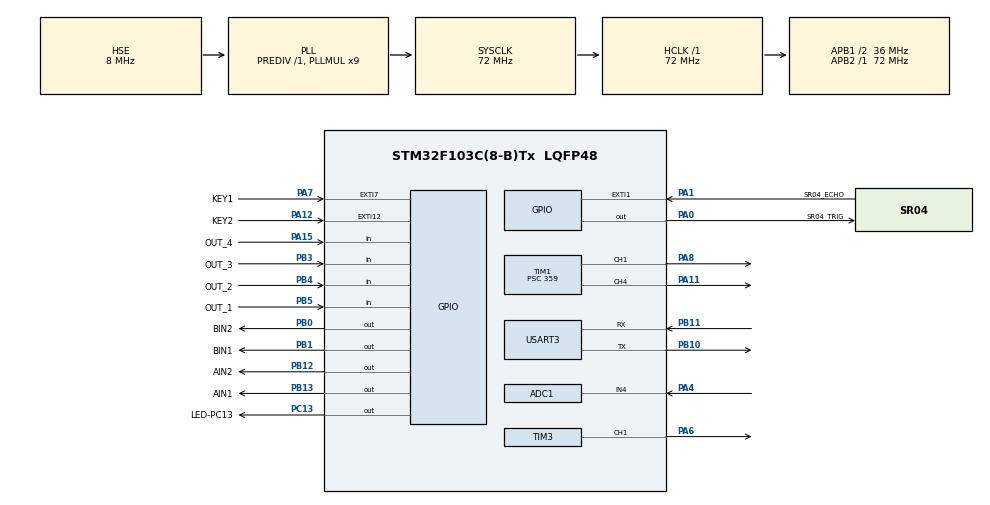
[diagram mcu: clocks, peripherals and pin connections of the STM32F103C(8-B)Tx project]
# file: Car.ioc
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ADC1.Channel-0\#ChannelRegularConversion=ADC_CHANNEL_4
ADC1.ContinuousConvMode=ENABLE
ADC1.NbrOfConversionFlag=1
ADC1.Rank-0\#ChannelRegularConversion=1
ADC1.SamplingTime-0\#ChannelRegularConversion=ADC_SAMPLETIME_239CYCLES_5
ADC1.master=1
Mcu.Family=STM32F1
Mcu.Name=STM32F103C(8-B)Tx
Mcu.Package=LQFP48
NVIC.EXTI15_10_IRQn=true\:0\:0\:false\:false\:true\:true\:true\:true
NVIC.EXTI1_IRQn=true\:0\:0\:false\:false\:true\:true\:true\:true
NVIC.EXTI9_5_IRQn=true\:0\:0\:false\:false\:true\:true\:true\:true
NVIC.PriorityGroup=NVIC_PRIORITYGROUP_4
NVIC.USART3_IRQn=true\:0\:0\:false\:false\:true\:true\:true\:true
PA0-WKUP.GPIO_Label=SR04_TRIG
PA0-WKUP.Signal=GPIO_Output
PA1.GPIO_Label=SR04_ECHO
PA1.GPIO_ModeDefaultEXTI=GPIO_MODE_IT_RISING_FALLING
PA1.Signal=GPXTI1
PA11.Signal=S_TIM1_CH4
PA12.GPIO_Label=KEY2
PA12.GPIO_ModeDefaultEXTI=GPIO_MODE_IT_FALLING
PA12.GPIO_PuPd=GPIO_PULLUP
PA12.Signal=GPXTI12
PA13.Mode=Serial_Wire
PA13.Signal=SYS_JTMS-SWDIO
PA14.Mode=Serial_Wire
PA14.Signal=SYS_JTCK-SWCLK
PA15.GPIO_Label=OUT_4
PA15.GPIO_PuPd=GPIO_PULLDOWN
PA15.Signal=GPIO_Input
PA4.Signal=ADCx_IN4
PA6.Signal=S_TIM3_CH1
PA7.GPIO_Label=KEY1
PA7.GPIO_ModeDefaultEXTI=GPIO_MODE_IT_RISING
PA7.GPIO_PuPd=GPIO_PULLDOWN
PA7.Signal=GPXTI7
PA8.Signal=S_TIM1_CH1
PB0.GPIO_Label=BIN2
PB0.GPIO_Speed=GPIO_SPEED_FREQ_HIGH
PB0.PinState=GPIO_PIN_SET
PB0.Signal=GPIO_Output
PB1.GPIO_Label=BIN1
PB1.GPIO_Speed=GPIO_SPEED_FREQ_HIGH
PB1.PinState=GPIO_PIN_SET
PB1.Signal=GPIO_Output
PB10.Mode=Asynchronous
PB10.Signal=USART3_TX
PB11.Mode=Asynchronous
PB11.Signal=USART3_RX
PB12.GPIO_Label=AIN2
PB12.GPIO_Speed=GPIO_SPEED_FREQ_HIGH
PB12.PinState=GPIO_PIN_SET
PB12.Signal=GPIO_Output
PB13.GPIO_Label=AIN1
PB13.GPIO_Speed=GPIO_SPEED_FREQ_HIGH
PB13.PinState=GPIO_PIN_SET
PB13.Signal=GPIO_Output
PB3.GPIO_Label=OUT_3
PB3.GPIO_PuPd=GPIO_PULLDOWN
PB3.Signal=GPIO_Input
PB4.GPIO_Label=OUT_2
PB4.GPIO_PuPd=GPIO_PULLDOWN
PB4.Signal=GPIO_Input
PB5.GPIO_Label=OUT_1
PB5.GPIO_PuPd=GPIO_PULLDOWN
PB5.Signal=GPIO_Input
PC13-TAMPER-RTC.GPIO_Label=LED-PC13
PC13-TAMPER-RTC.PinState=GPIO_PIN_SET
PC13-TAMPER-RTC.Signal=GPIO_Output
PD0-OSC_IN.Mode=HSE-External-Oscillator
PD0-OSC_IN.Signal=RCC_OSC_IN
PD1-OSC_OUT.Mode=HSE-External-Oscillator
PD1-OSC_OUT.Signal=RCC_OSC_OUT
ProjectManager.HeapSize=0x200
ProjectManager.StackSize=0x400
ProjectManager.TargetToolchain=Makefile
RCC.ADCPresc=RCC_ADCPCLK2_DIV6
RCC.AHBFreq_Value=72000000
RCC.APB1CLKDivider=RCC_HCLK_DIV2
RCC.APB1Freq_Value=36000000
RCC.APB1TimFreq_Value=72000000
RCC.APB2Freq_Value=72000000
RCC.APB2TimFreq_Value=72000000
RCC.HCLKFreq_Value=72000000
RCC.PLLMUL=RCC_PLL_MUL9
RCC.PLLSourceVirtual=RCC_PLLSOURCE_HSE
RCC.SYSCLKFreq_VALUE=72000000
RCC.SYSCLKSource=RCC_SYSCLKSOURCE_PLLCLK
RCC.USBFreq_Value=72000000
SH.ADCx_IN4.0=ADC1_IN4,IN4
SH.S_TIM1_CH1.0=TIM1_CH1,PWM Generation1 CH1
SH.S_TIM1_CH4.0=TIM1_CH4,PWM Generation4 CH4
SH.S_TIM3_CH1.0=TIM3_CH1,PWM Generation1 CH1
TIM1.Channel-PWM\ Generation1\ CH1=TIM_CHANNEL_1
TIM1.Channel-PWM\ Generation4\ CH4=TIM_CHANNEL_4
TIM1.Period=1999
TIM1.Prescaler=359
TIM1.Pulse-PWM\ Generation1\ CH1=500
TIM1.Pulse-PWM\ Generation4\ CH4=500
TIM2.Prescaler=72-1
TIM3.AutoReloadPreload=TIM_AUTORELOAD_PRELOAD_ENABLE
TIM3.Channel-PWM\ Generation1\ CH1=TIM_CHANNEL_1
TIM3.Period=999
TIM3.Prescaler=1439
TIM3.Pulse-PWM\ Generation1\ CH1=75
USART3.VirtualMode=VM_ASYNC
VP_TIM2_VS_ClockSourceINT.Mode=Internal
VP_TIM3_VS_ClockSourceINT.Mode=Internal
board=custom

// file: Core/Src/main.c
/* USER CODE BEGIN Header */
/**
 ******************************************************************************
 * @file           : main.c
 * @brief          : Main program body
 ******************************************************************************
 * @attention
 *
 * Copyright (c) 2024 STMicroelectronics.
 * All rights reserved.
 *
 * This software is licensed under terms that can be found in the LICENSE file
 * in the root directory of this software component.
 * If no LICENSE file comes with this software, it is provided AS-IS.
 *
 ******************************************************************************
 */
/* USER CODE END Header */
#include "main.h"
#include "adc.h"
#include "tim.h"
#include "usart.h"
#include "gpio.h"

/* USER CODE BEGIN Includes */
#include <string.h>
#include "car_wheels.h"
#include "ch34g.h"
#include "ir.h"
#include "oled.h"
#include "sr04.h"
#include "us025.h"
#include "utils.h"
// #include "dht11.h"
/* USER CODE END Includes */

/* USER CODE BEGIN PV */
uint16_t ModeSwitch = 0;

float CCM;

uint8_t p;
uint8_t data;
uint8_t Rx_Stat;
/* USER CODE END PV */

void SystemClock_Config(void);

/* USER CODE BEGIN 0 */

void USART_WheelsControl(UART_HandleTypeDef *huart) {
  HAL_UART_Receive_IT(huart, &p, 1);

  switch (Rx_Stat) {
  case 1:
    CAR_Forward();
    memset(&data, 0, 1);
    break;
  case 2:
    CAR_Backward();
    memset(&data, 0, 1);
    break;
  case 3:
    Car_Leftward();
    memset(&data, 0, 1);
    break;
  case 4:
    CAR_Rightward();
    memset(&data, 0, 1);
    break;
  case 0:
    Car_Stop();
    memset(&data, 0, 1);
    break;
  }
}

/* USER CODE END 0 */

int main(void)
{

  /* MCU Configuration--------------------------------------------------------*/

  /* Reset of all peripherals, Initializes the Flash interface and the Systick. */
  HAL_Init();

  /* Configure the system clock */
  SystemClock_Config();

  /* Initialize all configured peripherals */
  MX_GPIO_Init();
  MX_TIM1_Init();
  MX_TIM3_Init();
  MX_USART3_UART_Init();
  MX_ADC1_Init();
  MX_TIM2_Init();
  /* USER CODE BEGIN 2 */
  CH34G_Init();
  oled_init();
  HAL_ADCEx_Calibration_Start(&hadc1);
  HAL_ADC_Start(&hadc1);
  /* USER CODE END 2 */

  /* Infinite loop */
  /* USER CODE BEGIN WHILE */
  while (1) {
    US025_Start();
    OLED_Disp_CarInfo(CCM, ModeSwitch);

    switch (ModeSwitch) {
    case 1:
      SR04_WheelsControl(CCM);
      break;
    case 2:
      USART_WheelsControl(&huart3);
      break;
    case 3:
      IR_Processing();
      break;
    case 4:
      CH34G_TurnAngle(80, 200);
      if (SR04_Dist(CCM) > 35) {
        CAR_Forward();
        HAL_Delay(100);
      }
      if (SR04_Dist(CCM) < 35) {
        CH34G_TurnAngle(50, 200);
        if (SR04_Dist(CCM) > 35) {
          CAR_Rightward();
          HAL_Delay(300);
        } else {
          CH34G_TurnAngle(110, 200);
          if (SR04_Dist(CCM) > 25) {
            Car_Leftward();
            HAL_Delay(300);
          } else {
            CAR_Backward();
            HAL_Delay(300);
            Car_Leftward();
            HAL_Delay(300);
          }
        }
      }
      break;
    default:
      Car_Stop();
      break;
    }

    /* USER CODE END WHILE */

  }
}

void SystemClock_Config(void)
{
  RCC_OscInitTypeDef RCC_OscInitStruct = {0};
  RCC_ClkInitTypeDef RCC_ClkInitStruct = {0};
  RCC_PeriphCLKInitTypeDef PeriphClkInit = {0};

  /** Initializes the RCC Oscillators according to the specified parameters
  * in the RCC_OscInitTypeDef structure.
  */
  RCC_OscInitStruct.OscillatorType = RCC_OSCILLATORTYPE_HSE;
  RCC_OscInitStruct.HSEState = RCC_HSE_ON;
  RCC_OscInitStruct.HSEPredivValue = RCC_HSE_PREDIV_DIV1;
  RCC_OscInitStruct.HSIState = RCC_HSI_ON;
  RCC_OscInitStruct.PLL.PLLState = RCC_PLL_ON;
  RCC_OscInitStruct.PLL.PLLSource = RCC_PLLSOURCE_HSE;
  RCC_OscInitStruct.PLL.PLLMUL = RCC_PLL_MUL9;
  if (HAL_RCC_OscConfig(&RCC_OscInitStruct) != HAL_OK)
  {
    Error_Handler();
  }

  /** Initializes the CPU, AHB and APB buses clocks
  */
  RCC_ClkInitStruct.ClockType = RCC_CLOCKTYPE_HCLK|RCC_CLOCKTYPE_SYSCLK
                              |RCC_CLOCKTYPE_PCLK1|RCC_CLOCKTYPE_PCLK2;
  RCC_ClkInitStruct.SYSCLKSource = RCC_SYSCLKSOURCE_PLLCLK;
  RCC_ClkInitStruct.AHBCLKDivider = RCC_SYSCLK_DIV1;
  RCC_ClkInitStruct.APB1CLKDivider = RCC_HCLK_DIV2;
  RCC_ClkInitStruct.APB2CLKDivider = RCC_HCLK_DIV1;

  if (HAL_RCC_ClockConfig(&RCC_ClkInitStruct, FLASH_LATENCY_2) != HAL_OK)
  {
    Error_Handler();
  }
  PeriphClkInit.PeriphClockSelection = RCC_PERIPHCLK_ADC;
  PeriphClkInit.AdcClockSelection = RCC_ADCPCLK2_DIV6;
  if (HAL_RCCEx_PeriphCLKConfig(&PeriphClkInit) != HAL_OK)
  {
    Error_Handler();
  }
}

/* USER CODE BEGIN 4 */

void HAL_GPIO_EXTI_Callback(uint16_t GPIO_Pin) {
  if (GPIO_Pin == KEY2_Pin) {
      ModeSwitch += 1;
      if (ModeSwitch > 4)
        ModeSwitch = 1;
  }

  if (GPIO_Pin == KEY1_Pin) {
    ModeSwitch = 0;
  }

  if (HAL_GPIO_ReadPin(SR04_ECHO_GPIO_Port, SR04_ECHO_Pin) == 1) {
    __HAL_TIM_SetCounter(&htim2, 0);
    HAL_TIM_Base_Start(&htim2);
  }

  if (HAL_GPIO_ReadPin(SR04_ECHO_GPIO_Port, SR04_ECHO_Pin) == 0) {
    CCM = __HAL_TIM_GetCounter(&htim2);
    HAL_TIM_Base_Stop(&htim2);
  }
}

void HAL_UART_RxCpltCallback(UART_HandleTypeDef *huart) {
  if (huart == &huart3) {
    data = p;
    switch (data) {
    case 'W':
      Rx_Stat = 1;
      break;
    case 'S':
      Rx_Stat = 2;
      break;
    case 'A':
      Rx_Stat = 3;
      break;
    case 'D':
      Rx_Stat = 4;
      break;
    case 'Q':
      Rx_Stat = 0;
      break;
    }
  }
}
/* USER CODE END 4 */

void Error_Handler(void)
{
  __disable_irq();
  while (1) {
  }
}

#ifdef  USE_FULL_ASSERT
/**
  * @brief  Reports the name of the source file and the source line number
  *         where the assert_param error has occurred.
  * @param  file: pointer to the source file name
  * @param  line: assert_param error line source number
  * @retval None
  */
void assert_failed(uint8_t *file, uint32_t line)
{
  /* USER CODE BEGIN 6 */
  /* User can add his own implementation to report the file name and line
     number, ex: printf("Wrong parameters value: file %s on line %d\r\n", file,
     line) */
  /* USER CODE END 6 */
}
#endif /* USE_FULL_ASSERT */
